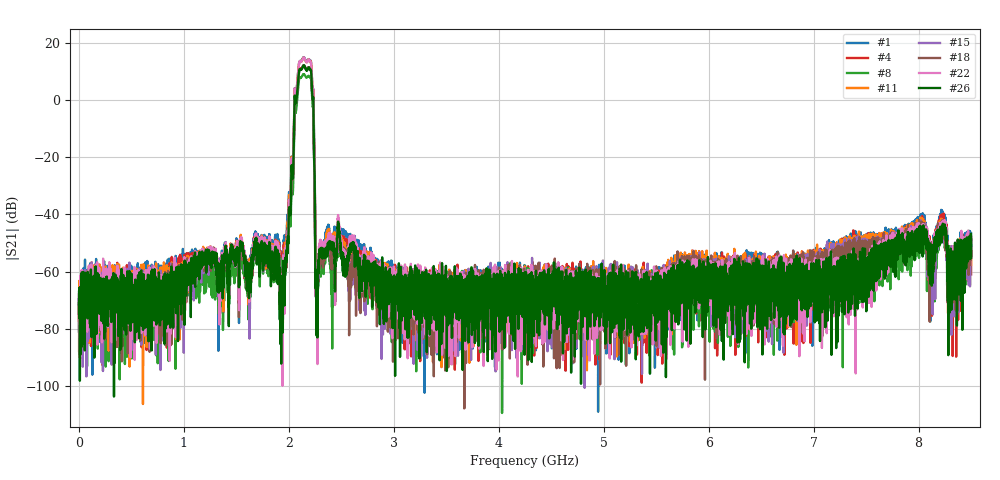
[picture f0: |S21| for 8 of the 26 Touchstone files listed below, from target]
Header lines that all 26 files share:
#  HZ  S  RI  R  50.00
! Rohde & Schwarz Vector Network Analyzer
! Rohde-Schwarz,ZNBT8-20Port,1318700624101681,3.50
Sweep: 1 MHz to 8.5 GHz
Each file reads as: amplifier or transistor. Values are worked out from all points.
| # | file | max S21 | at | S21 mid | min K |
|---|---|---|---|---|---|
| 1 | X_ANT1_B1@1_(G1).s2p | 15.0 dB | 2.144 GHz | -72.5 dB at 4.251 GHz | 9.04 |
| 2 | X_ANT1_B1@2_(G0H).s2p | 17.9 dB | 2.144 GHz | -59.8 dB at 4.251 GHz | 5.23 |
| 3 | X_ANT1_B1@2_(G1).s2p | 15.0 dB | 2.143 GHz | -64.2 dB at 4.251 GHz | 9.11 |
| 4 | X_ANT1_B1@3_(G2).s2p | 12.2 dB | 2.143 GHz | -73.3 dB at 4.251 GHz | 14.23 |
| 5 | X_ANT1_B1@4_(G0).s2p | 17.5 dB | 2.144 GHz | -72.3 dB at 4.251 GHz | 5.53 |
| 6 | X_ANT1_B1@4_(G1).s2p | 15.1 dB | 2.144 GHz | -63.0 dB at 4.251 GHz | 9.17 |
| 7 | X_ANT1_B1@4_(G2).s2p | 12.2 dB | 2.144 GHz | -57.7 dB at 4.251 GHz | 14.81 |
| 8 | X_ANT1_B1@4_(G3).s2p | 9.1 dB | 2.141 GHz | -57.9 dB at 4.251 GHz | 10.12 |
| 9 | X_ANT1_B1[B7]@1_(G0H).s2p | 17.8 dB | 2.14 GHz | -61.6 dB at 4.251 GHz | 5.42 |
| 10 | X_ANT1_B1[B7]@1_(G3).s2p | 9.0 dB | 2.142 GHz | -67.8 dB at 4.251 GHz | 10.26 |
| 11 | X_ANT1_B1[B7]@2_(G1).s2p | 14.9 dB | 2.144 GHz | -67.8 dB at 4.251 GHz | 8.87 |
| 12 | X_ANT1_B1[B7]@2_(G2).s2p | 12.1 dB | 2.142 GHz | -61.7 dB at 4.251 GHz | 15.88 |
| 13 | X_ANT1_B1[B7]@2_(G3).s2p | 8.9 dB | 2.143 GHz | -68.5 dB at 4.251 GHz | 10.42 |
| 14 | X_ANT1_B1[B7]@3_(G1).s2p | 15.0 dB | 2.144 GHz | -65.3 dB at 4.251 GHz | 9.16 |
| 15 | X_ANT1_B1[B7]@3_(G2).s2p | 12.2 dB | 2.144 GHz | -72.5 dB at 4.251 GHz | 15.26 |
| 16 | X_ANT1_B1[B7]@3_(G3).s2p | 9.0 dB | 2.142 GHz | -69.2 dB at 4.251 GHz | 10.08 |
| 17 | X_ANT1_B1[B7]@4_(G0H).s2p | 17.8 dB | 2.141 GHz | -64.0 dB at 4.251 GHz | 5.39 |
| 18 | X_ANT1_B1[B7]@4_(G2).s2p | 12.2 dB | 2.144 GHz | -62.0 dB at 4.251 GHz | 14.53 |
| 19 | X_ANT1_B1[B41]@1_(G0).s2p | 17.4 dB | 2.144 GHz | -74.4 dB at 4.251 GHz | 5.52 |
| 20 | X_ANT1_B1[B41]@1_(G1).s2p | 14.9 dB | 2.144 GHz | -70.8 dB at 4.251 GHz | 8.93 |
| 21 | X_ANT1_B1[B41]@1_(G3).s2p | 8.9 dB | 2.144 GHz | -61.6 dB at 4.251 GHz | 10.14 |
| 22 | X_ANT1_B1[B41]@2_(G1).s2p | 14.9 dB | 2.145 GHz | -63.7 dB at 4.251 GHz | 9.28 |
| 23 | X_ANT1_B1[B41]@2_(G2).s2p | 12.1 dB | 2.145 GHz | -65.1 dB at 4.251 GHz | 15.43 |
| 24 | X_ANT1_B1[B41]@3_(G0).s2p | 17.5 dB | 2.143 GHz | -69.2 dB at 4.251 GHz | 5.65 |
| 25 | X_ANT1_B1[B41]@3_(G1).s2p | 14.9 dB | 2.144 GHz | -66.7 dB at 4.251 GHz | 9.14 |
| 26 | X_ANT1_B1[B41]@3_(G2).s2p | 12.2 dB | 2.143 GHz | -67.9 dB at 4.251 GHz | 15.46 |
